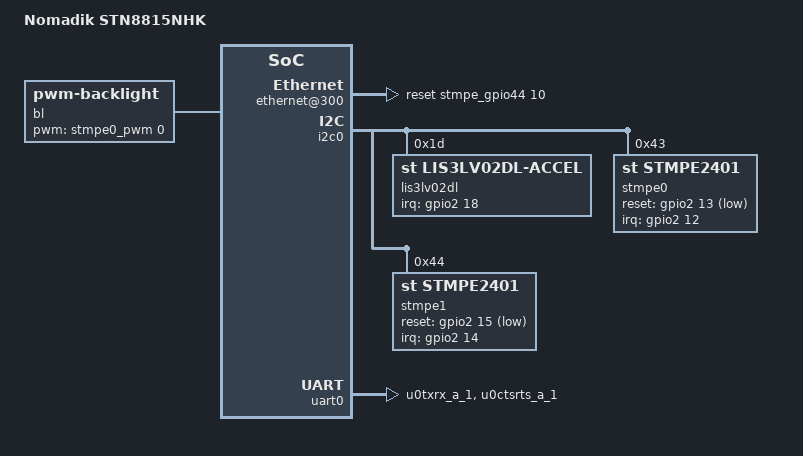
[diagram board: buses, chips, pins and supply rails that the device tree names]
/*
 * Device Tree for the ST-Ericsson Nomadik S8815 board
 * Produced by Calao Systems
 */

/dts-v1/;
#include <dt-bindings/interrupt-controller/irq.h>
#include <dt-bindings/gpio/gpio.h>
#include "ste-nomadik-stn8815.dtsi"

/ {
	model = "Nomadik STN8815NHK";
	compatible = "st,nomadik-nhk-15";

	chosen {
		bootargs = "root=/dev/ram0 console=ttyAMA1,115200n8 earlyprintk";
	};

	aliases {
		serial0 = &uart0;
		serial1 = &uart1;
		stmpe-i2c0 = &stmpe0;
		stmpe-i2c1 = &stmpe1;
	};

	pinctrl {
		uart0 {
			uart0_nhk_mode: uart0_mux {
				u0_default_mux {
					function = "u0";
					groups = "u0txrx_a_1", "u0ctsrts_a_1";
				};
			};
		};

		stmpe2401_1 {
			stmpe2401_1_nhk_mode: stmpe2401_1_nhk {
				nhk_cfg1 {
					pins = "GPIO76_B20"; // IRQ line
					ste,input = <0>;
				};
				nhk_cfg2 {
					pins = "GPIO77_B8"; // reset line
					ste,output = <1>;
				};
			};
		};
		stmpe2401_2 {
			stmpe2401_2_nhk_mode: stmpe2401_2_nhk {
				nhk_cfg1 {
					pins = "GPIO78_A8"; // IRQ line
					ste,input = <0>;
				};
				nhk_cfg2 {
					pins = "GPIO79_C9"; // reset line
					ste,output = <1>;
				};
			};
		};
		lis3lv02dl {
			lis3lv02dl_nhk_mode: lis3lv02dl_nhk {
				nhk_cfg1 {
					pins = "GPIO82_C10"; // IRQ line
					ste,input = <0>;
				};
			};
		};
	};
	src@101e0000 {
		/* These chrystal outputs are not used on this board */
		disable-sxtalo;
		disable-mxtalo;
	};

	/* This is where the interrupt is routed on the NHK-15 debug board */
	external-bus@34000000 {
		compatible = "simple-bus";
		reg = <0x34000000 0x1000000>;
		#address-cells = <1>;
		#size-cells = <1>;
		ranges = <0 0x34000000 0x1000000>;
		ethernet@300 {
			compatible = "smsc,lan91c111";
			reg = <0x300 0x0fd00>;
			reg-io-width = <2>;
			reset-gpios = <&stmpe_gpio44 10 GPIO_ACTIVE_HIGH>;
			interrupt-parent = <&stmpe_gpio44>;
			interrupts = <11 IRQ_TYPE_EDGE_RISING>;
		};
	};

	i2c0 {
		lis3lv02dl@1d {
			/* Accelerometer */
			compatible = "st,lis3lv02dl-accel";
			interrupt-parent = <&gpio2>;
			interrupts = <18 IRQ_TYPE_EDGE_RISING>; // GPIO 82
			pinctrl-0 = <&lis3lv02dl_nhk_mode>;
			pinctrl-names = "default";
			reg = <0x1d>;
		};
		stmpe0: stmpe2401@43 {
			compatible = "st,stmpe2401";
			reg = <0x43>;
			reset-gpios = <&gpio2 13 GPIO_ACTIVE_LOW>; // GPIO77
			interrupts = <12 IRQ_TYPE_EDGE_FALLING>; // GPIO76
			interrupt-parent = <&gpio2>;
			interrupt-controller;
			wakeup-source;
			pinctrl-names = "default";
			pinctrl-0 = <&stmpe2401_1_nhk_mode>;
			stmpe_gpio43: stmpe_gpio {
				compatible = "st,stmpe-gpio";
				gpio-controller;
				#gpio-cells = <2>;
				interrupt-controller;
				#interrupt-cells = <2>;
				/* Some pins in alternate functions */
				st,norequest-mask = <0xf0f002>;
			};
			stmpe_keypad {
				compatible = "st,stmpe-keypad";
				debounce-interval = <64>;
				st,scan-count = <8>;
				st,no-autorepeat;
				keypad,num-rows = <8>;
				keypad,num-columns = <8>;
				linux,keymap = <0x00020072 // Vol down
						0x00030073 // Vol up
						0x0100009e // Back
						0x010100e3 // TV out
						0x01020098 // Lock
						0x0103013b // Start
						0x020000a3 // Next
						0x020100a4 // Play
						0x020200a5 // Prev
						0x02030160 // OK
						0x03000069 // Left
						0x0301006a // Right
						0x03020067 // Up
						0x0303006c>; // Down
			};
			stmpe0_pwm: stmpe_pwm {
				compatible = "st,stmpe-pwm";
				#pwm-cells = <2>;
			};
		};
		stmpe1: stmpe2401@44 {
			compatible = "st,stmpe2401";
			reg = <0x44>;
			reset-gpios = <&gpio2 15 GPIO_ACTIVE_LOW>; // GPIO79
			interrupts = <14 IRQ_TYPE_EDGE_FALLING>; // GPIO78
			interrupt-parent = <&gpio2>;
			interrupt-controller;
			wakeup-source;
			pinctrl-names = "default";
			pinctrl-0 = <&stmpe2401_2_nhk_mode>;
			stmpe_gpio44: stmpe_gpio {
				compatible = "st,stmpe-gpio";
				gpio-controller;
				#gpio-cells = <2>;
				interrupt-controller;
				#interrupt-cells = <2>;
				/*
				 * This will turn off SATA so that MMC/SD
				 * can thrive
				 */
				mmcsd-gpio {
					gpio-hog;
					gpios = <2 0x0>;
					output-low;
					line-name = "SATA EN";
				};
			};
		};
	};

	amba {
		clcd@10120000 {
			status = "okay";
			pinctrl-names = "default";
			pinctrl-0 = <&clcd_24bit_mux>;
			port {
				nomadik_clcd_pads: endpoint {
					remote-endpoint = <&nomadik_clcd_panel>;
					arm,pl11x,tft-r0g0b0-pads = <16 8 0>;
				};
			};

			/*
			 * WVGA connector 21
			 * WVGA (800x480): 4.3" TPG110 TDO43MTEA2 24-bit RGB
			 * with TPO touch screen.
			 */
			panel {
				compatible = "tpo,tpg110", "panel-dpi";
				grestb-gpios = <&stmpe_gpio44 5 GPIO_ACTIVE_LOW>;
				scen-gpios = <&gpio0 6 GPIO_ACTIVE_LOW>;
				scl-gpios = <&gpio0 5 GPIO_ACTIVE_HIGH>;
				sda-gpios = <&gpio0 4 GPIO_ACTIVE_HIGH>;
				backlight = <&bl>;

				port {
					nomadik_clcd_panel: endpoint {
						remote-endpoint = <&nomadik_clcd_pads>;
					};
				};

				panel-timing {
					clock-frequency = <33200000>;
					hactive = <800>;
					hback-porch = <216>;
					hfront-porch = <40>;
					hsync-len = <1>;
					vactive = <480>;
					vback-porch = <35>;
					vfront-porch = <10>;
					vsync-len = <1>;
				};
			};
		};

		/* Activate RX/TX and CTS/RTS on UART 0 */
		uart0: uart@101fd000 {
			pinctrl-names = "default";
			pinctrl-0 = <&uart0_nhk_mode>;
			status = "okay";
		};
		mmcsd: sdi@101f6000 {
			cd-gpios = <&stmpe_gpio44 7 GPIO_ACTIVE_LOW>;
			wp-gpios = <&stmpe_gpio44 18 GPIO_ACTIVE_HIGH>;
		};
	};

	bl: backlight {
		compatible = "pwm-backlight";
		pwms = <&stmpe0_pwm 0 500000>;
		pwm-names = "backlight";
		brightness-levels = <
			0  1  2  3  4  5  6  7  8  9
			10 11 12 13 14 15 16 17 18 19
			20 21 22 23 24 25 26 27 28 29
			30 31 32 33 34 35 36 37 38 39
			40 41 42 43 44 45 46 47 48 49
			50 51 52 53 54 55 56 57 58 59
			60 61 62 63 64 65 66 67 68 69
			70 71 72 73 74 75 76 77 78 79
			80 81 82 83 84 85 86 87 88 89
			90 91 92 93 94 95 96 97 98 99
			100
		>;
		default-brightness-level = <100>;
	};
};
